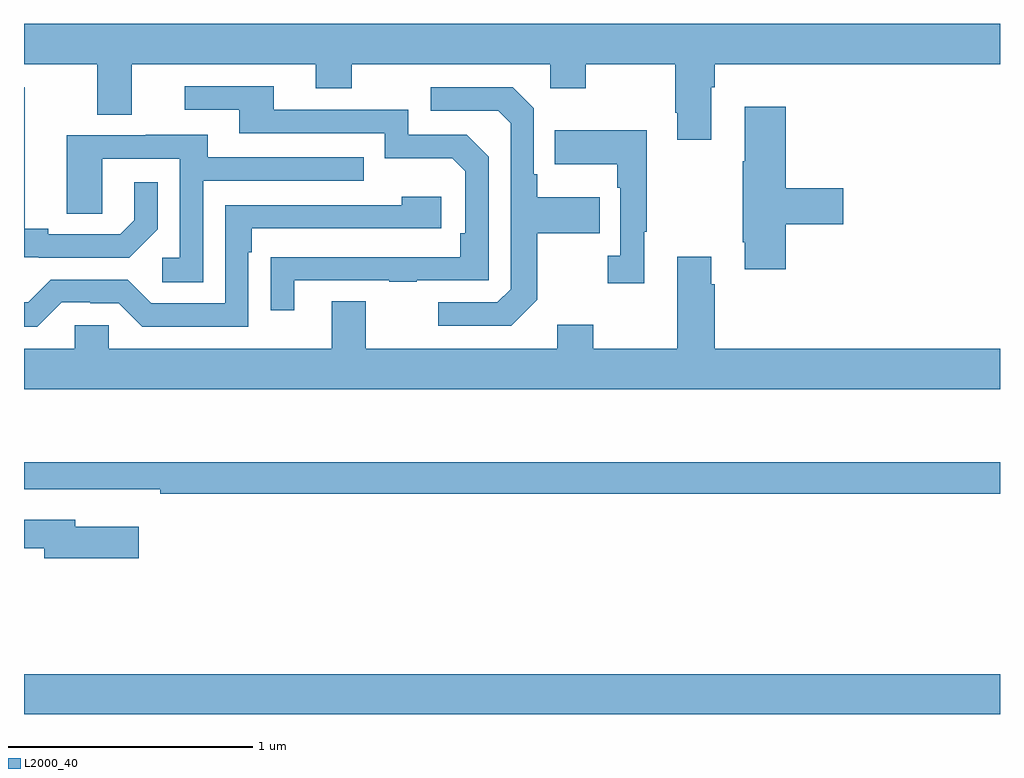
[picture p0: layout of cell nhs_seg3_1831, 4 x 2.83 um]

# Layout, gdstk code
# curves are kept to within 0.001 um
import gdstk
lib = gdstk.Library(unit=1e-6, precision=1e-09)
def R(c, l, rs):  # rectangles x0, y0, x1, y1
    for r in rs: c.add(gdstk.rectangle(r[:2], r[2:], *l))
def P(c, l, *ps):  # polygons
    for p in ps: c.add(gdstk.Polygon(p, *l))
L2000_40 = (2000, 40)

nhs_seg3_1831 = lib.new_cell('nhs_seg3_1831')
R(nhs_seg3_1831, L2000_40, [(205,720.896,209,721.06)])
P(nhs_seg3_1831, L2000_40, [(207.817,723.464),(207.83,723.464),(207.83,723.56),(209,723.56),(209,723.724),(205,723.724),(205,723.56),(205.301,723.56),(205.301,723.352),(205.441,723.352),(205.441,723.56),(206.195,723.56),(206.195,723.461),(206.343,723.461),(206.343,723.56),(207.156,723.56),(207.156,723.461),(207.303,723.461),(207.303,723.56),(207.67,723.56),(207.67,723.361),(207.677,723.361),(207.677,723.249),(207.817,723.249)],
  [(206.107,722.673),(206.497,722.673),(206.497,722.668),(206.609,722.668),(206.609,722.673),(206.904,722.673),(206.904,723.18),(206.814,723.27),(206.574,723.27),(206.574,723.372),(206.023,723.372),(206.023,723.468),(205.659,723.468),(205.659,723.372),(205.883,723.372),(205.883,723.276),(206.478,723.276),(206.478,723.173),(206.755,723.173),(206.808,723.12),(206.808,722.866),(206.788,722.866),(206.788,722.769),(206.011,722.768),(206.011,722.55),(206.107,722.55)],
  [(207.103,722.593),(207.103,722.866),(207.359,722.866),(207.359,723.013),(207.103,723.013),(207.103,723.109),(207.09,723.109),(207.09,723.378),(207.003,723.465),(206.667,723.465),(206.667,723.369),(206.943,723.369),(206.994,723.318),(206.994,722.637),(206.94,722.583),(206.697,722.583),(206.697,722.487),(206.997,722.487)],
  [(205.548,722.882),(205.548,723.076),(205.451,723.076),(205.451,722.919),(205.394,722.862),(205.099,722.862),(205.099,722.885),(205.003,722.885),(205.003,723.465),(205,723.465),(205,722.769),(205.06,722.769),(205.06,722.766),(205.432,722.766)],
  [(208.121,722.903),(208.357,722.903),(208.357,723.05),(208.121,723.05),(208.121,723.385),(207.953,723.385),(207.953,723.161),(207.946,723.161),(207.946,722.83),(207.953,722.83),(207.953,722.718),(208.121,722.718)],
  [(207.541,722.873),(207.553,722.873),(207.553,723.289),(207.175,723.289),(207.175,723.149),(207.432,723.149),(207.432,723.053),(207.444,723.053),(207.444,722.774),(207.393,722.774),(207.393,722.661),(207.541,722.661)],
  [(205.734,723.081),(206.393,723.081),(206.393,723.177),(205.753,723.177),(205.753,723.271),(205.499,723.271),(205.499,723.267),(205.175,723.267),(205.175,722.947),(205.32,722.947),(205.32,723.171),(205.638,723.171),(205.638,722.766),(205.566,722.766),(205.566,722.665),(205.734,722.665)],
  [(205.155,722.583),(205.271,722.583),(205.271,722.58),(205.389,722.58),(205.485,722.484),(205.92,722.484),(205.92,722.789),(205.933,722.789),(205.933,722.886),(206.71,722.886),(206.71,723.016),(206.549,723.016),(206.549,722.982),(205.824,722.982),(205.824,722.58),(205.521,722.58),(205.425,722.676),(205.11,722.676),(205.017,722.583),(205,722.583),(205,722.483),(205.055,722.483)],
  [(209,722.392),(207.83,722.392),(207.83,722.657),(207.817,722.657),(207.817,722.77),(207.677,722.77),(207.677,722.392),(207.333,722.392),(207.333,722.491),(207.185,722.491),(207.185,722.392),(206.401,722.392),(206.401,722.587),(206.261,722.587),(206.261,722.392),(205.347,722.392),(205.347,722.49),(205.209,722.49),(205.209,722.392),(205,722.392),(205,722.228),(209,722.228)],
  [(209,721.927),(205,721.927),(205,721.818),(205.306,721.818),(205.306,721.817),(205.558,721.817),(205.558,721.798),(209,721.798)],
  [(205.471,721.663),(205.21,721.663),(205.21,721.692),(205,721.692),(205,721.576),(205.082,721.576),(205.082,721.534),(205.471,721.534)])

lib.write_gds('nhs_seg3_1831.gds')
